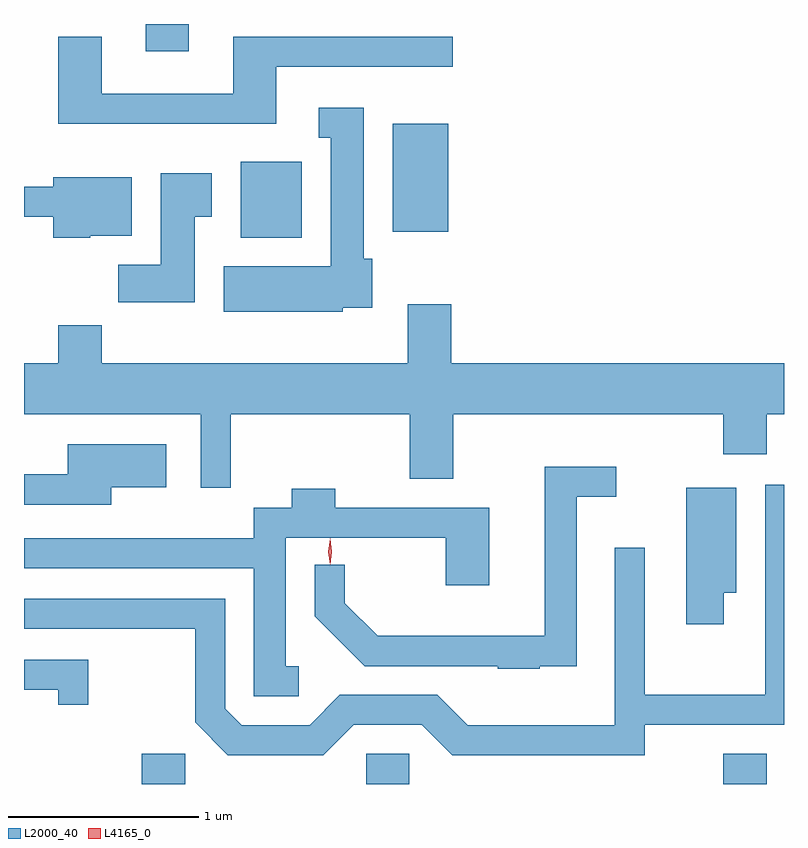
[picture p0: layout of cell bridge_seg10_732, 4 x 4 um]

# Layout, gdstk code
import gdstk
lib = gdstk.Library(unit=1e-6, precision=1e-09)
def R(c, l, rs):  # rectangles x0, y0, x1, y1
    for r in rs: c.add(gdstk.rectangle(r[:2], r[2:], *l))
def P(c, l, *ps):  # polygons
    for p in ps: c.add(gdstk.Polygon(p, *l))
L2000_40 = (2000, 40)
L4165_0 = (4165, 0)

bridge_seg10_732 = lib.new_cell('bridge_seg10_732')
R(bridge_seg10_732, L2000_40, [(529.891,2118.63,530.119,2118.789), (531.071,2118.63,531.299,2118.789), (532.951,2118.63,533.179,2118.789), (530.411,2121.506,530.734,2121.904), (531.211,2121.536,531.504,2122.104), (529.911,2122.486,530.139,2122.63)])
P(bridge_seg10_732, L2000_40, [(530.599,2122.406),(531.528,2122.406),(531.528,2122.564),(530.371,2122.564),(530.371,2122.264),(529.679,2122.264),(529.679,2122.564),(529.451,2122.564),(529.451,2122.106),(530.599,2122.106)],
  [(530.949,2121.136),(531.104,2121.136),(531.104,2121.394),(531.059,2121.394),(531.059,2122.189),(530.823,2122.189),(530.823,2122.031),(530.886,2122.031),(530.886,2121.354),(530.321,2121.354),(530.321,2121.116),(530.949,2121.116)],
  [(530.169,2121.616),(530.259,2121.616),(530.259,2121.844),(529.991,2121.844),(529.991,2121.364),(529.766,2121.364),(529.766,2121.166),(530.169,2121.166)],
  [(529.62,2121.516),(529.839,2121.516),(529.839,2121.824),(529.426,2121.824),(529.426,2121.774),(529.271,2121.774),(529.271,2121.616),(529.426,2121.616),(529.426,2121.506),(529.62,2121.506)],
  [(530.359,2120.576),(531.301,2120.576),(531.301,2120.236),(531.529,2120.236),(531.529,2120.576),(532.951,2120.576),(532.951,2120.366),(533.179,2120.366),(533.179,2120.576),(533.271,2120.576),(533.271,2120.844),(531.519,2120.844),(531.519,2121.154),(531.291,2121.154),(531.291,2120.844),(529.679,2120.844),(529.679,2121.044),(529.451,2121.044),(529.451,2120.844),(529.271,2120.844),(529.271,2120.576),(530.201,2120.576),(530.201,2120.188),(530.359,2120.188)],
  [(529.729,2120.191),(530.019,2120.191),(530.019,2120.419),(529.501,2120.419),(529.501,2120.259),(529.271,2120.259),(529.271,2120.101),(529.729,2120.101)],
  [(531.985,2119.251),(532.179,2119.251),(532.179,2120.141),(532.388,2120.141),(532.388,2120.299),(532.011,2120.299),(532.011,2119.409),(531.132,2119.409),(530.959,2119.582),(530.959,2119.783),(530.801,2119.783),(530.801,2119.514),(531.064,2119.251),(531.765,2119.251),(531.765,2119.236),(531.985,2119.236)],
  [(531.007,2118.941),(531.364,2118.941),(531.524,2118.781),(532.539,2118.781),(532.539,2118.941),(533.271,2118.941),(533.271,2120.204),(533.171,2120.204),(533.171,2119.099),(532.539,2119.099),(532.539,2119.873),(532.381,2119.873),(532.381,2118.939),(531.607,2118.939),(531.447,2119.099),(530.934,2119.099),(530.774,2118.939),(530.417,2118.939),(530.329,2119.027),(530.329,2119.604),(529.271,2119.604),(529.271,2119.446),(530.171,2119.446),(530.171,2118.954),(530.344,2118.781),(530.847,2118.781)],
  [(532.954,2119.636),(533.019,2119.636),(533.019,2120.189),(532.756,2120.189),(532.756,2119.471),(532.954,2119.471)],
  [(530.718,2119.249),(530.649,2119.249),(530.649,2119.926),(531.491,2119.926),(531.491,2119.676),(531.719,2119.676),(531.719,2120.084),(530.909,2120.084),(530.909,2120.184),(530.681,2120.184),(530.681,2120.084),(530.481,2120.084),(530.481,2119.924),(529.271,2119.924),(529.271,2119.766),(530.481,2119.766),(530.481,2119.091),(530.718,2119.091)],
  [(529.609,2119.284),(529.271,2119.284),(529.271,2119.126),(529.451,2119.126),(529.451,2119.048),(529.609,2119.048)])
P(bridge_seg10_732, L4165_0, [(530.882,2119.783),(530.882,2119.784),(530.872,2119.853),(530.882,2119.922),(530.882,2119.923),(530.883,2119.922),(530.892,2119.853),(530.883,2119.784)])

lib.write_gds('bridge_seg10_732.gds')
